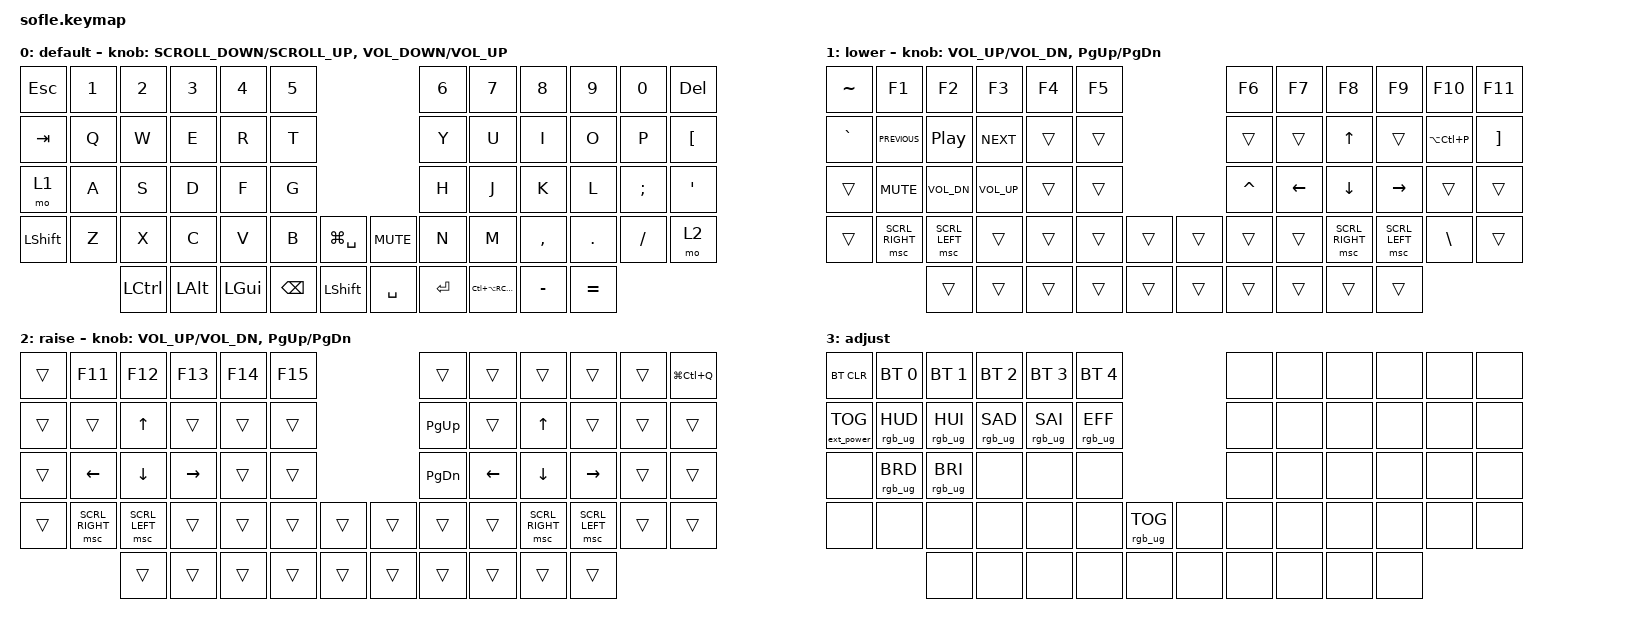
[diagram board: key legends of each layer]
/*
 * Copyright (c) 2020 The ZMK Contributors
 *
 * SPDX-License-Identifier: MIT
 */

#define ZMK_POINTING_DEFAULT_SCRL_VAL 20

#include <behaviors.dtsi>
#include <dt-bindings/zmk/bt.h>
#include <dt-bindings/zmk/ext_power.h>
#include <dt-bindings/zmk/keys.h>
#include <dt-bindings/zmk/pointing.h>
#include <dt-bindings/zmk/rgb.h>

#define BASE 0
#define LOWER 1
#define RAISE 2
#define ADJUST 3

/ {
    // Activate ADJUST layer by pressing raise and lower

    conditional_layers {
        compatible = "zmk,conditional-layers";

        adjust_layer {
            if-layers = <LOWER RAISE>;
            then-layer = <ADJUST>;
        };
    };

    combos {
        compatible = "zmk,combos";

        layer_shift_3 {
            bindings = <&mo 3>;
            key-positions = <24 49>;
        };
    };

    behaviors {
        mouse_scroll_encoder1: mouse_scroll_encoder1 {
            compatible = "zmk,behavior-sensor-rotate";
            label = "MOUSE_SCROLL_ENCODER1";
            #sensor-binding-cells = <0>;
            bindings = <&msc MOVE_X(10)>, <&msc MOVE_X(-10)>;
        };
    };

    keymap {
        compatible = "zmk,keymap";

        default_layer {
            label = "default";

            // ------------------------------------------------------------------------------------------------------------
            // |   `   |  1  |  2  |  3   |  4   |  5   |                   |  6   |  7    |  8    |  9   |   0   |       |
            // |  ESC  |  Q  |  W  |  E   |  R   |  T   |                   |  Y   |  U    |  I    |  O   |   P   | BKSPC |
            // |  TAB  |  A  |  S  |  D   |  F   |  G   |                   |  H   |  J    |  K    |  L   |   ;   |   '   |
            // | SHIFT |  Z  |  X  |  C   |  V   |  B   |  MUTE  |  |       |  N   |  M    |  ,    |  .   |   /   | SHIFT |
            //               | GUI | ALT  | CTRL | LOWER|  ENTER |  | SPACE | RAISE| CTRL  | ALT   | GUI  |

            bindings = <
&kp ESC    &kp N1  &kp N2            &kp N3    &kp N4        &kp N5                                       &kp N6     &kp N7                     &kp N8     &kp N9     &kp N0    &kp DELETE
&kp TAB    &kp Q   &kp W             &kp E     &kp R         &kp T                                        &kp Y      &kp U                      &kp I      &kp O      &kp P     &kp LEFT_BRACKET
&mo 1      &kp A   &kp S             &kp D     &kp F         &kp G                                        &kp H      &kp J                      &kp K      &kp L      &kp SEMI  &kp SQT
&kp LSHFT  &kp Z   &kp X             &kp C     &kp V         &kp B          &kp LG(SPACE)     &kp C_MUTE  &kp N      &kp M                      &kp COMMA  &kp DOT    &kp FSLH  &mo 2
                   &kp LEFT_CONTROL  &kp LALT  &kp LEFT_GUI  &kp BACKSPACE  &kp LEFT_SHIFT    &kp SPACE   &kp ENTER  &kp LC(LA(RIGHT_COMMAND))  &kp MINUS  &kp EQUAL
            >;

            sensor-bindings =
                <&inc_dec_kp K_SCROLL_DOWN K_SCROLL_UP>,
                <&inc_dec_kp C_VOLUME_DOWN C_VOLUME_UP>;
        };

        lower_layer {
            label = "lower";

            // TODO: Some binds are waiting for shifted keycode support.
            // ------------------------------------------------------------------------------------------------------------
            // |       |  F1 |  F2 |  F3  |  F4  |  F5  |                   |  F6  |  F7   |  F8   |  F9  |  F10  |  F11  |
            // |   `   |  1  |  2  |  3   |  4   |  5   |                   |  6   |  7    |  8    |  9   |   0   |  F12  |
            // |       |  !  |  @  |  #   |  $   |  %   |                   |  ^   |  &    |  *    |  (   |   )   |   |   |
            // |       |  =  |  -  |  +   |  {   |  }   |        |  |       |  [   |  ]    |  ;    |  :   |   \   |       |
            //               |     |      |      |      |        |  |       |      |       |       |      |

            bindings = <
&kp TILDE  &kp F1           &kp F2            &kp F3           &kp F4  &kp F5                    &kp F6     &kp F7    &kp F8           &kp F9          &kp F10        &kp F11
&kp GRAVE  &kp C_PREVIOUS   &kp C_PLAY_PAUSE  &kp C_NEXT       &trans  &trans                    &trans     &trans    &kp UP_ARROW     &trans          &kp LA(LC(P))  &kp RIGHT_BRACKET
&trans     &kp K_MUTE       &kp C_VOL_DN      &kp C_VOLUME_UP  &trans  &trans                    &kp CARET  &kp LEFT  &kp DOWN         &kp RIGHT       &trans         &trans
&trans     &msc SCRL_RIGHT  &msc SCRL_LEFT    &trans           &trans  &trans  &trans    &trans  &trans     &trans    &msc SCRL_RIGHT  &msc SCRL_LEFT  &kp BSLH       &trans
                            &trans            &trans           &trans  &trans  &trans    &trans  &trans     &trans    &trans           &trans
            >;

            sensor-bindings = <&inc_dec_kp C_VOL_UP C_VOL_DN &inc_dec_kp PG_UP PG_DN>;
        };

        raise_layer {
            label = "raise";

            // ------------------------------------------------------------------------------------------------------------
            // | BTCLR | BT1  | BT2  |  BT3  |  BT4  |  BT5 |                |      |      |       |      |       |       |
            // |       | INS  | PSCR | GUI   |       |      |                | PGUP |      |   ^   |      |       |       |
            // |       | ALT  | CTRL | SHIFT |       | CAPS |                | PGDN |   <- |   v   |  ->  |  DEL  | BKSPC |
            // |       | UNDO | CUT  | COPY  | PASTE |      |      |  |      |      |      |       |      |       |       |
            //                |      |       |       |      |      |  |      |      |      |       |      |

            bindings = <
&trans  &kp F11          &kp F12         &kp F13    &kp F14  &kp F15                    &trans     &trans    &trans           &trans          &trans  &kp LG(LC(Q))
&trans  &trans           &kp UP_ARROW    &trans     &trans   &trans                     &kp PG_UP  &trans    &kp UP           &trans          &trans  &trans
&trans  &kp LEFT_ARROW   &kp DOWN        &kp RIGHT  &trans   &trans                     &kp PG_DN  &kp LEFT  &kp DOWN         &kp RIGHT       &trans  &trans
&trans  &msc SCRL_RIGHT  &msc SCRL_LEFT  &trans     &trans   &trans   &trans    &trans  &trans     &trans    &msc SCRL_RIGHT  &msc SCRL_LEFT  &trans  &trans
                         &trans          &trans     &trans   &trans   &trans    &trans  &trans     &trans    &trans           &trans
            >;

            sensor-bindings = <&inc_dec_kp C_VOL_UP C_VOL_DN &inc_dec_kp PG_UP PG_DN>;
        };

        adjust_layer {
            // ----------------------------------------------------------------------------------------------------------------------------
            // | BTCLR  |  BT1    |  BT2    |   BT3   |   BT4   |   BT5   |                  |      |      |       |      |       |       |
            // | EXTPWR | RGB_HUD | RGB_HUI | RGB_SAD | RGB_SAI | RGB_EFF |                  |      |      |       |      |       |       |
            // |        | RGB_BRD | RGB_BRI |         |         |         |                  |      |      |       |      |       |       |
            // |        |         |         |         |         |         | RGB_TOG | |      |      |      |       |      |       |       |
            //                    |         |         |         |         |         | |      |      |      |       |      |

            label = "adjust";
            bindings = <
&bt BT_CLR         &bt BT_SEL 0     &bt BT_SEL 1     &bt BT_SEL 2     &bt BT_SEL 3     &bt BT_SEL 4                               &none  &none  &none  &none  &none  &none
&ext_power EP_TOG  &rgb_ug RGB_HUD  &rgb_ug RGB_HUI  &rgb_ug RGB_SAD  &rgb_ug RGB_SAI  &rgb_ug RGB_EFF                            &none  &none  &none  &none  &none  &none
&none              &rgb_ug RGB_BRD  &rgb_ug RGB_BRI  &none            &none            &none                                      &none  &none  &none  &none  &none  &none
&none              &none            &none            &none            &none            &none            &rgb_ug RGB_TOG    &none  &none  &none  &none  &none  &none  &none
                                    &none            &none            &none            &none            &none              &none  &none  &none  &none  &none
            >;
        };
    };
};
